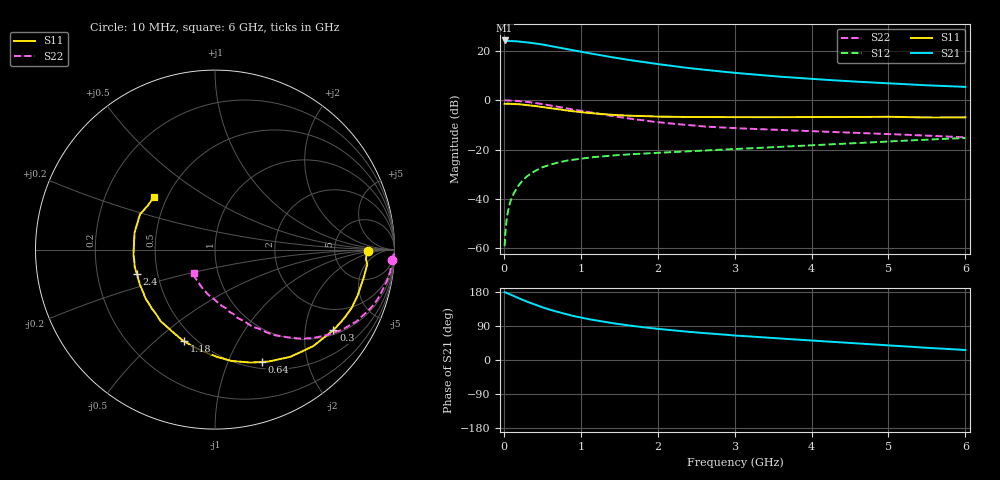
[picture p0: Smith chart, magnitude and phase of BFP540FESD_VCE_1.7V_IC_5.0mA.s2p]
! Infineon Technologies  Discrete & RF Semiconductors
! BFP540FESD
! VCE =  1.7 V,  IC =  5.0 mA
! Common Emitter S-Parameters:  Nov 2015
# GHz  S  MA  R  50
!  f  S11  S21  S12  S22
! GHz  MAG  ANG  MAG  ANG  MAG  ANG  MAG  ANG
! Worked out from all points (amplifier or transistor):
!   210 points, 10 MHz to 6 GHz, reference 50 ohm
!   highest |S21| = 24.2 dB at 10 MHz (marker M1)
!   |S21| within 3 dB of that: start of sweep to 737.4 MHz
!   unconditionally stable (mu >= 1): 2.711 GHz to end of sweep
!   at 185 MHz: K = 0.09, MSG = 29.3 dB, |S12| = -34.8 dB
!   at 1.52 GHz: K = 0.63, MSG = 19.5 dB, |S12| = -22.2 dB
!   at 6 GHz: K = 1.31, MAG = 7.0 dB, |S12| = -15.3 dB
!   S11 on the Smith chart (normalised r, x): 10 MHz: 12, -1; 300 MHz: 1.15, -2.83; 640 MHz: 0.58, -1.33; 1.18 GHz: 0.43, -0.62; 2.4 GHz: 0.38, -0.13; 6 GHz: 0.42, +0.31
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0.01  0.8497 -0.4  16.26 178.8  0.0011 81.3  0.9896 -3.5
0.02  0.8422 -3.6  15.86 178.4  0.002 98.9  0.9967 -1.5
0.045  0.8505 -5.2  15.88 176.2  0.0047 88.1  0.9877 -3.2
0.085  0.8445 -9.5  15.8 172.7  0.0088 85.4  0.9843 -6.1
0.15  0.8346 -17.8  15.77 167.2  0.0147 81.4  0.9729 -10.6
0.2  0.8284 -23.0  15.47 162.4  0.0195 77.3  0.9582 -14.1
0.3  0.798 -34.2  14.95 154.1  0.0286 72.9  0.9263 -20.7
0.4  0.767 -44.6  14.23 146.4  0.0364 67.6  0.8852 -26.8
0.5  0.7301 -54.9  13.49 139.0  0.0436 63.4  0.8357 -32.4
0.64  0.6774 -67.5  12.26 130.3  0.0513 57.7  0.767 -38.9
0.8  0.6265 -81.8  11.05 121.2  0.059 52.8  0.6915 -45.9
0.9  0.597 -89.1  10.3 116.3  0.0623 50.5  0.6488 -49.2
1.02  0.5683 -97.3  9.502 111.3  0.0661 48.3  0.6026 -53.1
1.18  0.5383 -108.7  8.545 105.0  0.0706 45.3  0.5467 -57.8
1.5  0.5008 -127.2  7.037 94.6  0.0772 41.2  0.4556 -65.8
1.78  0.4762 -140.1  6.028 87.2  0.0824 39.5  0.3974 -72.1
2.02  0.4647 -150.0  5.352 81.8  0.0859 38.9  0.3564 -76.8
2.4  0.4555 -162.5  4.492 74.5  0.0921 37.9  0.3154 -83.2
3.1  0.4538 -178.3  3.48 63.4  0.1041 37.0  0.2675 -93.7
4.1  0.4572 166.5  2.643 50.1  0.1242 36.0  0.2328 -105.6
5.1  0.4583 153.2  2.16 37.3  0.1484 32.5  0.2035 -117.4
6  0.4494 139.5  1.863 26.3  0.1717 28.4  0.1765 -132.0
